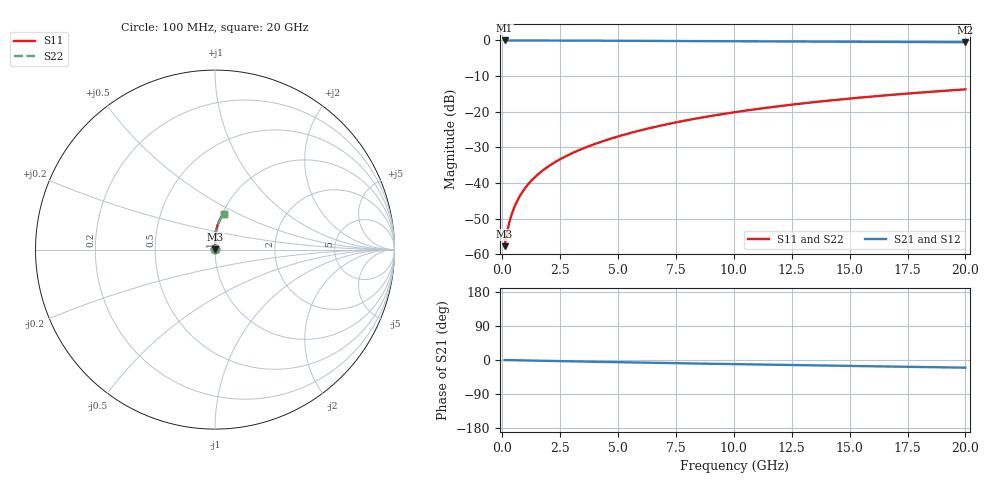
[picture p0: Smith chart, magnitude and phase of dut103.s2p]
! Touchstone file exported from HFSS 2024.1.0
!  File:  C:/UserFiles/LocalFiles/RDL_TSV_Batchsim/temp_RDL_bottom_103_1778695312.aedt
!  Generated:  02:04:14 AM May 14, 2026
!  Design:  RDL_bottom
!  Project:  temp_RDL_bottom_103_1778695312
!  Setup:  Setup1
!  Solution:  Sweep
! Variables:
!  dtsv = 10.80580581um
!  hbump = 3um
!  htsv = 73.98um
!  ldown = 262.97um
!  lrdl = 100um
!  p = 40
!  p1 = 55.22um
!  rhole = 1um
!  t = 450um
!  tdown = 4.95um
!  trdl = 3.915915916um
!  wdown = 25.44um
!  wrdl = 20um
# GHz S MA R 50.000000
! Terminal data exported
! Port[1] = RDL1_T1
! Port[2] = RDL1_T2
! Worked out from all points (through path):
!   200 points, 100 MHz to 20 GHz, reference 50 ohm
!   highest |S21| = -0.01 dB at 100 MHz (marker M1); lowest = -0.5 dB at 20 GHz (marker M2)
!   group delay of S21, straight-line fit = 2.77 ps
!   lowest |S11| = -57.7 dB at 100 MHz (marker M3), VSWR 1.00, Z = 50.1 + j0.0932 ohm
!   |S11| at or under -10 dB: start of sweep to end of sweep
!   |S22| runs from -57.7 to -13.7 dB; largest |S21 - S12| = 1.6e-14
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0.1  0.001302 45.6  0.9991 -0.1  0.9991 -0.1  0.001302 45.6
! Gamma 0 0 0 0
! Port Impedance 50 0 50 0
0.2  0.002015 61.6  0.999 -0.3  0.999 -0.3  0.002015 61.6
0.3  0.002786 69.6  0.9989 -0.4  0.9989 -0.4  0.002786 69.6
0.4  0.003589 74.3  0.9988 -0.5  0.9988 -0.5  0.003589 74.3
0.5  0.00441 77.3  0.9988 -0.6  0.9988 -0.6  0.00441 77.3
0.6  0.005241 79.4  0.9987 -0.7  0.9987 -0.7  0.005241 79.4
0.8  0.00692 82.2  0.9985 -1.0  0.9985 -1.0  0.00692 82.2
1.1  0.009463 84.6  0.9982 -1.3  0.9982 -1.3  0.009463 84.6
1.5  0.01288 86.4  0.9977 -1.8  0.9977 -1.8  0.01288 86.4
1.8  0.01547 87.3  0.9973 -2.2  0.9973 -2.2  0.01547 87.3
2.1  0.01808 88.0  0.9967 -2.5  0.9967 -2.5  0.01808 88.0
2.7  0.02338 89.1  0.9955 -3.2  0.9955 -3.2  0.02338 89.1
3.5  0.03065 90.0  0.9935 -4.1  0.9935 -4.1  0.03065 90.0
4.2  0.03723 90.5  0.9915 -4.9  0.9915 -4.9  0.03723 90.5
5  0.04502 90.7  0.9891 -5.8  0.9891 -5.8  0.04502 90.7
6.8  0.06344 90.3  0.9833 -7.7  0.9833 -7.7  0.06344 90.3
8.4  0.08057 89.3  0.9782 -9.3  0.9782 -9.3  0.08057 89.3
10.1  0.09919 87.7  0.9729 -11.0  0.9729 -11.0  0.09919 87.7
11.7  0.1168 86.0  0.968 -12.5  0.968 -12.5  0.1168 86.0
13.4  0.1356 84.1  0.9629 -14.1  0.9629 -14.1  0.1356 84.1
16.7  0.1713 80.3  0.9531 -17.2  0.9531 -17.2  0.1713 80.3
20  0.2059 76.6  0.9432 -20.2  0.9432 -20.2  0.2059 76.6
